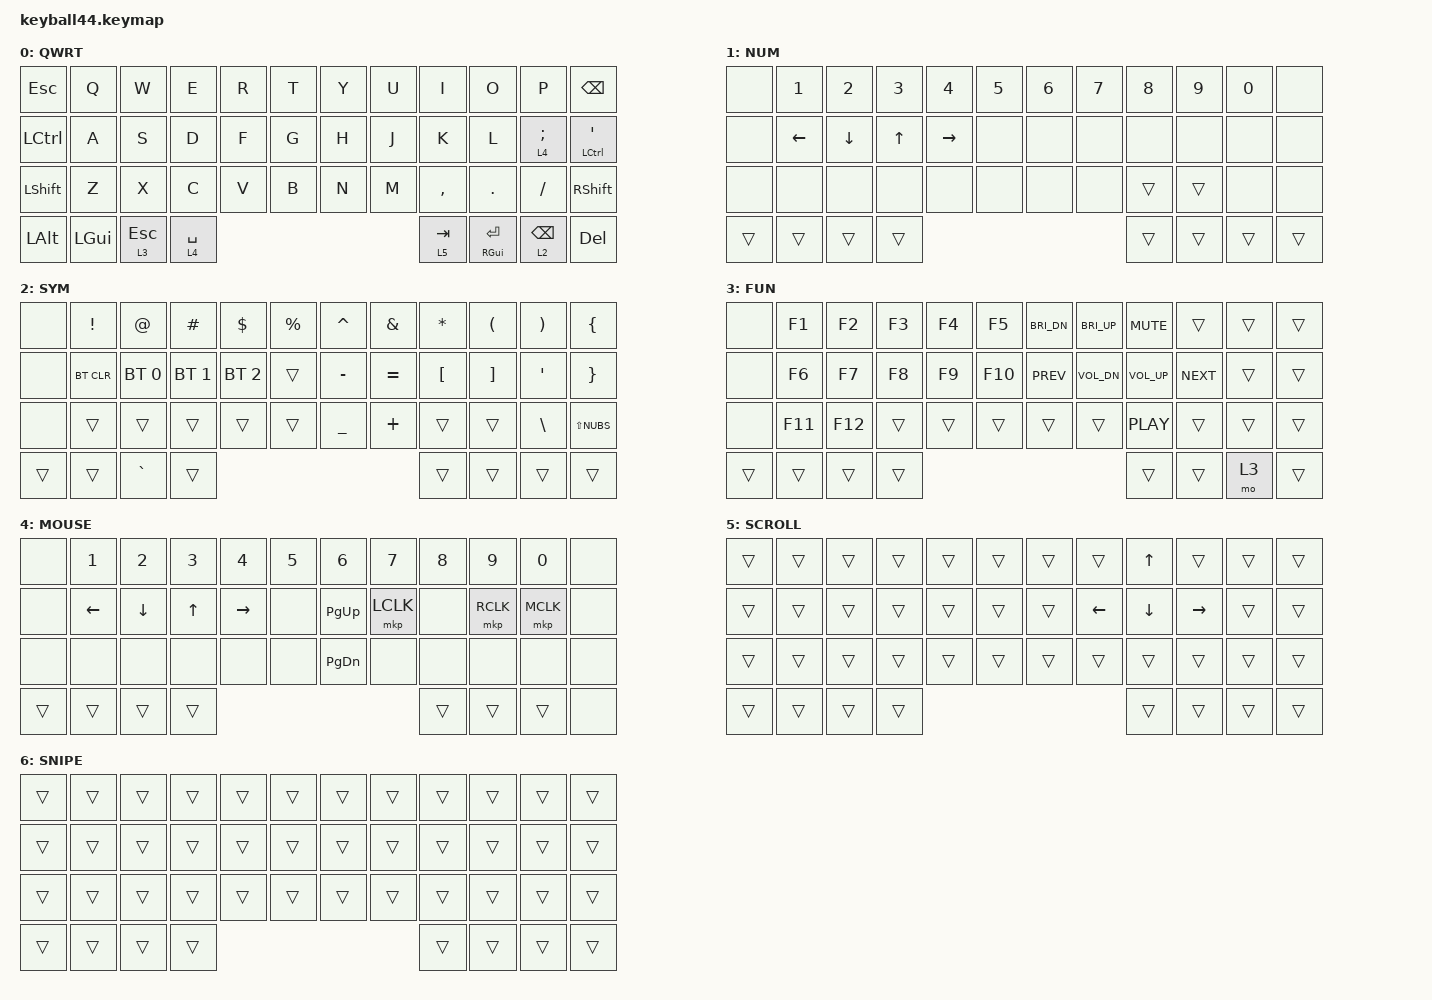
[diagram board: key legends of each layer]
#define DEFAULT 0
#define NUM     1
#define SYM     2
#define FUN     3
#define MOUSE   4
#define SCROLL  5
#define SNIPE   6

#include <behaviors/mouse_keys.dtsi>
#include <behaviors.dtsi>
#include <dt-bindings/zmk/bt.h>
#include <dt-bindings/zmk/keys.h>
#include <dt-bindings/zmk/mouse.h>


&lt {
    tapping-term-ms = <240>;
    flavor = "balanced";
    quick-tap-ms = <150>;
};

&mt {
    tapping-term-ms = <200>;
    flavor = "tap-preferred";
    quick-tap-ms = <150>;
};

&caps_word { continue-list = <UNDERSCORE MINUS>; };

/ {
    // custom shift using mod-morph 

    behaviors {
        cmqus: comma_question {
            compatible = "zmk,behavior-mod-morph";
            label = "COMMA_QUESTION";
            #binding-cells = <0>;
            bindings = <&kp COMMA>, <&kp QUESTION>;

            mods = <(MOD_LSFT|MOD_RSFT)>;
        };

        dtsmi: dot_semi {
            compatible = "zmk,behavior-mod-morph";
            label = "DOT_SEMI";
            #binding-cells = <0>;
            bindings = <&kp DOT>, <&kp SEMI>;

            mods = <(MOD_LSFT|MOD_RSFT)>;
        };
    };

    keymap {
        compatible = "zmk,keymap";

        default_layer {
            label = "QWRT";
            bindings = <
&kp ESCAPE      &kp Q     &kp W         &kp E        &kp R      &kp T                 &kp Y            &kp U  &kp I      &kp O    &kp P      &kp BACKSPACE
&kp LCTRL       &kp A     &kp S         &kp D        &kp F      &kp G                 &kp H            &kp J  &kp K      &kp L    &lt 4 SEMI   &mt LCTRL SQT
&kp LEFT_SHIFT  &kp Z     &kp X         &kp C        &kp V      &kp B                 &kp N            &kp M  &kp COMMA  &kp DOT  &kp SLASH  &kp RIGHT_SHIFT
&kp LALT        &kp LGUI  &lt 3 ESCAPE  &lt 4 SPACE  &lt 5 TAB             &mt RGUI ENTER  &lt 2 BACKSPACE                                        &kp DELETE
            >;
        };

        number_layer {
            label = "NUM";
            bindings = <
&none   &kp NUMBER_1  &kp NUMBER_2  &kp NUMBER_3  &kp NUMBER_4  &kp NUMBER_5              &kp NUMBER_6  &kp NUMBER_7  &kp NUMBER_8  &kp NUMBER_9  &kp NUMBER_0  &none
&none   &kp LEFT      &kp DOWN      &kp UP_ARROW  &kp RIGHT     &none                     &none         &none         &none         &none         &none         &none
&none   &none         &none         &none         &none         &none                     &none         &none         &trans        &trans        &none         &none
&trans  &trans        &trans        &trans        &trans                          &trans  &trans                                                                &trans
            >;
        };

        symbol_layer {
            label = "SYM";
            bindings = <
&none   &kp EXCLAMATION  &kp AT_SIGN   &kp HASH      &kp DOLLAR    &kp PERCENT              &kp CARET       &kp AMPERSAND  &kp ASTERISK      &kp LEFT_PARENTHESIS  &kp RIGHT_PARENTHESIS  &kp LBRC
&none   &bt BT_CLR       &bt BT_SEL 0  &bt BT_SEL 1  &bt BT_SEL 2  &trans                   &kp MINUS       &kp EQUAL      &kp LEFT_BRACKET  &kp RIGHT_BRACKET     &kp SQT                &kp RBRC
// left _: US-style, right _: Windows JIS fallback (LS(NUBS))
&none   &trans           &trans        &trans        &trans        &trans                   &kp UNDERSCORE  &kp PLUS       &trans            &trans                &kp BSLH               &kp LS(NUBS)
&trans  &trans           &kp GRAVE     &trans        &trans                         &trans  &trans                                                                                        &trans
            >;
        };

        function_layer {
            label = "FUN";
            bindings = <
&none   &kp F1        &kp F2        &kp F3        &kp F4        &kp F5                  &kp C_BRI_DN  &kp C_BRI_UP  &kp C_MUTE    &trans        &trans        &trans
&none   &kp F6        &kp F7        &kp F8        &kp F9        &kp F10                 &kp C_PREV    &kp C_VOL_DN  &kp C_VOL_UP  &kp C_NEXT    &trans        &trans
&none   &kp F11       &kp F12       &trans        &trans        &trans                  &trans        &trans        &kp C_PLAY    &trans        &trans        &trans
&trans  &trans        &trans        &trans        &trans                  &trans        &mo 3                                                  &trans
            >;
        };

        mouse_layer {
            label = "MOUSE";
            bindings = <
&none   &kp N1          &kp N2          &kp N3        &kp N4     &kp N5              &kp N6         &kp N7     &kp N8  &kp N9     &kp N0     &none
&none   &kp LEFT_ARROW  &kp DOWN_ARROW  &kp UP_ARROW  &kp RIGHT  &none               &kp PAGE_UP    &mkp LCLK  &none   &mkp RCLK  &mkp MCLK  &none
&none   &none           &none           &none         &none      &none               &kp PAGE_DOWN  &none      &none   &none      &none      &none
&trans  &trans          &trans          &trans        &trans                 &trans  &trans                                                  &none
            >;
        };

        scroll_layer {
            label = "SCROLL";
            bindings = <
&trans  &trans  &trans  &trans  &trans  &trans              &trans  &trans  &kp UP        &trans  &trans  &trans
&trans  &trans  &trans  &trans  &trans  &trans              &trans  &kp LEFT  &kp DOWN      &kp RIGHT &trans  &trans
&trans  &trans  &trans  &trans  &trans  &trans              &trans  &trans  &trans        &trans  &trans  &trans
&trans  &trans  &trans  &trans  &trans              &trans  &trans                                  &trans
            >;
        };

        snipe_layer {
            label = "SNIPE";
            bindings = <
&trans  &trans  &trans  &trans  &trans  &trans              &trans  &trans  &trans  &trans  &trans  &trans
&trans  &trans  &trans  &trans  &trans  &trans              &trans  &trans  &trans  &trans  &trans  &trans
&trans  &trans  &trans  &trans  &trans  &trans              &trans  &trans  &trans  &trans  &trans  &trans
&trans  &trans  &trans  &trans  &trans              &trans  &trans                                  &trans
            >;
        };
    };
};
